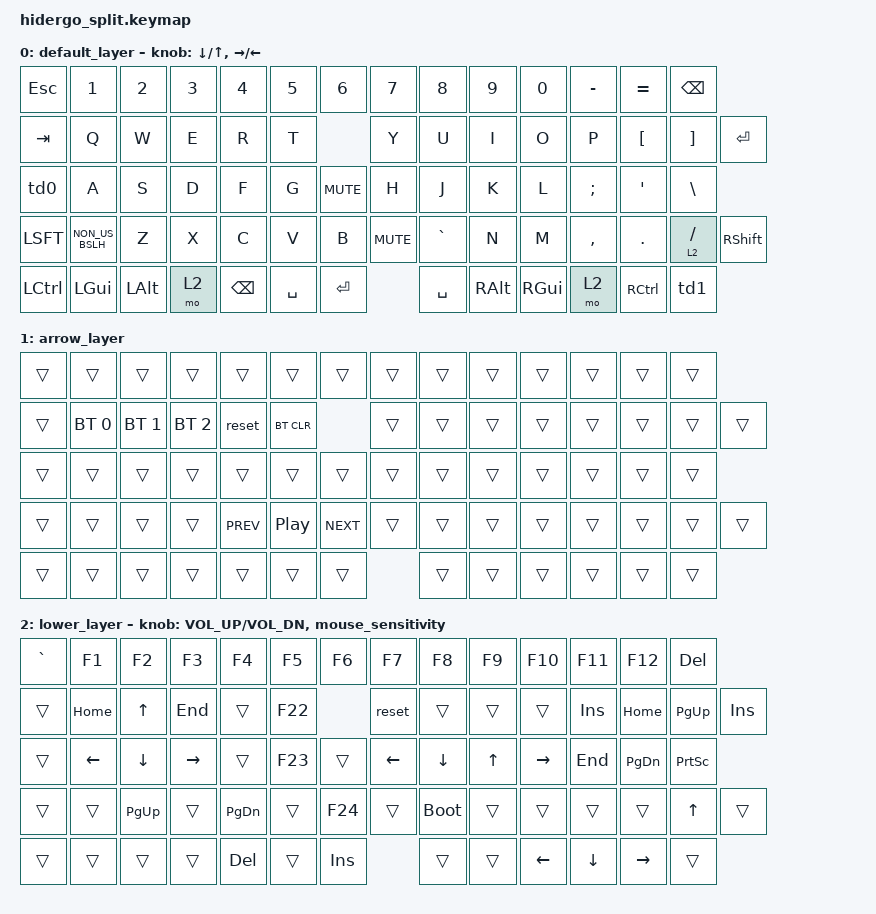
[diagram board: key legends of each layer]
#include <behaviors.dtsi>
#include <dt-bindings/zmk/keys.h>
#include <dt-bindings/zmk/bt.h>
#include <dt-bindings/zmk/ext_power.h>
#include <dt-bindings/zmk/mouse.h>

/ {

	behaviors {
        td0: tap_dance_0 {
            compatible = "zmk,behavior-tap-dance";
            label = "TAP_DANCE_0";
            #binding-cells = <0>;
            tapping-term-ms = <200>;
            bindings = <&mo 2>, <&caps_word>, <&kp CAPSLOCK>;
        };

		td1: tap_dance_1 {
            compatible = "zmk,behavior-tap-dance";
            label = "TAP_DANCE_1";
            #binding-cells = <0>;
            tapping-term-ms = <200>;
            bindings = <&mo 2>, <&tog 1>;
        };

        mouse_sensitivity: mouse_sensitivity {
            compatible = "zmk,behavior-sensor-rotate";
            label = "mouse_sensitivity";
            #sensor-binding-cells = <0>;
            tap-ms = <5>;
            bindings = <&msens 8>, <&msens 248>;
        };
    
    };

	keymap {
		compatible = "zmk,keymap";

		default_layer {
// --------------------------------------------------------------------------------------------------------------------------
// |  ESC   |  1  |  2  |  3   |  4   |  5   |  6   |               |  7   |  8    |  9    |  0   |   +   |   =   | BSPC       |
// |  TAB   |  Q  |  W  |  E   |  R   |  T   |                      |  Y   |  U    |  I    |  O   |   P   |   [   | ]  | ENTER |
// |  MO    |  A  |  S  |  D   |  F   |  G   |   (knob)             |  H   |  J    |  K    |  L   |   ;   |   '   |  \    |    |
// | LSHIFT |     |  Z  |  X   |  C   |  V   |  B   |     (knob)| ` |  N   |  M    |  ,    |  .   |   -   |     RSHIFT          |
// | CTRL   | GUI | ALT |  MO   |                                   | SPCE         | ALTGR | MO   | GUI  |  CTRL  |    td1     |
//                                    | BSPC |
//                                     | SPACE| ENTER|		
// enter is 2nd row last
// backslash 3rd row last

            bindings = <
&kp ESC     &kp N1          &kp N2      &kp N3      &kp N4  	    &kp N5  	    &kp N6          &kp N7  		&kp N8  	&kp N9      &kp N0      &kp MINUS   &kp EQUAL       &kp BSPC    
&kp TAB     &kp Q           &kp W       &kp E       &kp R   	    &kp T                   	    &kp Y   		&kp U   	&kp I       &kp O       &kp P       &kp LBKT        &kp RBKT      &kp RET 
&td0        &kp A           &kp S       &kp D       &kp F   	    &kp G           &kp C_MUTE      &kp H   		&kp J   	&kp K       &kp L      	&kp SEMI    &kp SQT         &kp BACKSLASH 
&kp LSFT    &kp NON_US_BSLH &kp Z       &kp X       &kp C   	    &kp V   	    &kp B           &kp C_MUTE   	&kp GRAVE   &kp N       &kp M   	&kp COMMA   &kp DOT    	    &lt 2 FSLH    &kp RSHIFT     
&kp LCTRL   &kp LGUI        &kp LALT    &mo 2       &kp BSPC 	    &kp SPACE 	    &kp RET                         &kp SPACE   &kp RALT    &kp RGUI    &mo 2       &kp RCTRL 	    &td1                                	
			>;

			sensor-bindings = <&inc_dec_kp DOWN_ARROW UP_ARROW &inc_dec_kp RIGHT_ARROW LEFT_ARROW>;
		};

		arrow_layer {
			bindings = <
&trans      &trans          &trans          &trans          &trans          &trans      	&trans      		&trans      	&trans  	&trans      &trans     	&trans      &trans     	&trans
&trans  	&bt BT_SEL 0    &bt BT_SEL 1    &bt BT_SEL 2   	&reset 			&bt BT_CLR                          &trans   	    &trans      &trans      &trans      &trans      &trans      &trans      &trans 
&trans      &trans          &trans          &trans          &trans   		&trans          &trans      	    &trans   		&trans   	&trans      &trans      &trans      &trans      &trans 
&trans      &trans          &trans          &trans          &kp C_PREV   	&kp C_PP   		&kp C_NEXT       	           	    &trans   	&trans      &trans      &trans      &trans	    &trans      &trans      &trans
&trans      &trans          &trans          &trans          &trans  		&trans  		&trans     		                    &trans      &trans      &trans      &trans  	&trans      &trans 
			>;

		};

		lower_layer {
			bindings = <
&kp GRAVE   &kp F1          &kp F2      &kp F3  		&kp F4  		&kp F5  		&kp F6      	&kp F7  		&kp F8      &kp F9      &kp F10       &kp F11     &kp F12        &kp DELETE    
&trans  	&kp HOME        &kp UP      &kp END         &trans       	&kp F22                   		&reset   		&trans      &trans      &trans        &kp INSERT  &kp HOME       &kp PG_UP          &kp INSERT 
&trans      &kp LEFT        &kp DOWN    &kp RIGHT       &trans   		&kp F23         &trans      	&kp LEFT   		&kp DOWN    &kp UP      &kp RIGHT     &kp END     &kp PG_DN 	 &kp PRINTSCREEN
&trans      &trans          &kp PG_UP   &trans          &kp PG_DN       &trans          &kp F24         &trans          &bootloader &trans      &trans        &trans      &trans    	 &kp UP        &trans     
&trans      &trans          &trans      &trans   		&kp DELETE 		&trans 			&kp INSERT    	                &trans      &trans      &kp LEFT      &kp DOWN    &kp RIGHT      &trans                                                                                            	
			>;

			sensor-bindings = <&inc_dec_kp C_VOL_UP C_VOL_DN &mouse_sensitivity>;
		};
	};
};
